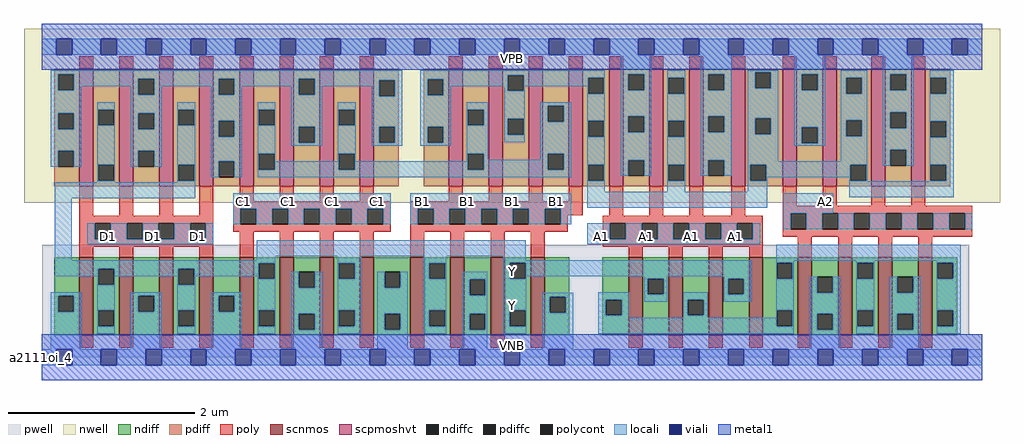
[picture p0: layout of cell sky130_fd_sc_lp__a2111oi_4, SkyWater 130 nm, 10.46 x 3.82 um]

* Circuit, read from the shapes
.subckt sky130_fd_sc_lp__a2111oi_4 A1 A2 B1 C1 D1 VGND VNB VPB VPWR Y
XM1 Y D1 VGND VNB sky130_fd_pr__nfet_01v8 w=0.84 l=0.15 m=4
XM2 Y C1 VGND VNB sky130_fd_pr__nfet_01v8 w=0.84 l=0.15 m=4
XM3 Y B1 VGND VNB sky130_fd_pr__nfet_01v8 w=0.84 l=0.15 m=4
XM4 Y A1 n1 VNB sky130_fd_pr__nfet_01v8 w=0.84 l=0.15 m=4
XM5 VGND A2 n1 VNB sky130_fd_pr__nfet_01v8 w=0.84 l=0.15 m=4
XM6 Y D1 n2 VPB sky130_fd_pr__pfet_01v8_hvt w=1.26 l=0.15 m=4
XM7 n3 C1 n2 VPB sky130_fd_pr__pfet_01v8_hvt w=1.26 l=0.15 m=4
XM8 n3 B1 n4 VPB sky130_fd_pr__pfet_01v8_hvt w=1.26 l=0.15 m=4
XM9 VPWR A1 n4 VPB sky130_fd_pr__pfet_01v8_hvt w=1.26 l=0.15 m=4
XM10 VPWR A2 n4 VPB sky130_fd_pr__pfet_01v8_hvt w=1.26 l=0.15 m=4
.ends

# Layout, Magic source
magic
tech sky130A
magscale 1 2
<< nwell >>
rect -38 331 2054 704
<< pwell >>
rect 1 49 1988 241
rect 0 0 2016 49
<< scnmos >>
rect 80 47 110 215
rect 166 47 196 215
rect 252 47 282 215
rect 338 47 368 215
rect 424 47 454 215
rect 510 47 540 215
rect 596 47 626 215
rect 682 47 712 215
rect 790 47 820 215
rect 876 47 906 215
rect 962 47 992 215
rect 1048 47 1078 215
rect 1258 47 1288 215
rect 1344 47 1374 215
rect 1430 47 1460 215
rect 1516 47 1546 215
rect 1621 47 1651 215
rect 1707 47 1737 215
rect 1793 47 1823 215
rect 1879 47 1909 215
<< scpmoshvt >>
rect 80 367 110 619
rect 166 367 196 619
rect 252 367 282 619
rect 338 367 368 619
rect 424 367 454 619
rect 510 367 540 619
rect 596 367 626 619
rect 682 367 712 619
rect 872 367 902 619
rect 958 367 988 619
rect 1044 367 1074 619
rect 1130 367 1160 619
rect 1216 367 1246 619
rect 1302 367 1332 619
rect 1388 367 1418 619
rect 1478 367 1508 619
rect 1588 367 1618 619
rect 1674 367 1704 619
rect 1778 367 1808 619
rect 1864 367 1894 619
<< ndiff >>
rect 27 132 80 215
rect 27 98 35 132
rect 69 98 80 132
rect 27 47 80 98
rect 110 190 166 215
rect 110 156 121 190
rect 155 156 166 190
rect 110 101 166 156
rect 110 67 121 101
rect 155 67 166 101
rect 110 47 166 67
rect 196 132 252 215
rect 196 98 207 132
rect 241 98 252 132
rect 196 47 252 98
rect 282 190 338 215
rect 282 156 293 190
rect 327 156 338 190
rect 282 101 338 156
rect 282 67 293 101
rect 327 67 338 101
rect 282 47 338 67
rect 368 132 424 215
rect 368 98 379 132
rect 413 98 424 132
rect 368 47 424 98
rect 454 202 510 215
rect 454 168 465 202
rect 499 168 510 202
rect 454 101 510 168
rect 454 67 465 101
rect 499 67 510 101
rect 454 47 510 67
rect 540 183 596 215
rect 540 149 551 183
rect 585 149 596 183
rect 540 93 596 149
rect 540 59 551 93
rect 585 59 596 93
rect 540 47 596 59
rect 626 202 682 215
rect 626 168 637 202
rect 671 168 682 202
rect 626 101 682 168
rect 626 67 637 101
rect 671 67 682 101
rect 626 47 682 67
rect 712 183 790 215
rect 712 149 735 183
rect 769 149 790 183
rect 712 93 790 149
rect 712 59 735 93
rect 769 59 790 93
rect 712 47 790 59
rect 820 202 876 215
rect 820 168 831 202
rect 865 168 876 202
rect 820 101 876 168
rect 820 67 831 101
rect 865 67 876 101
rect 820 47 876 67
rect 906 167 962 215
rect 906 133 917 167
rect 951 133 962 167
rect 906 93 962 133
rect 906 59 917 93
rect 951 59 962 93
rect 906 47 962 59
rect 992 203 1048 215
rect 992 169 1003 203
rect 1037 169 1048 203
rect 992 101 1048 169
rect 992 67 1003 101
rect 1037 67 1048 101
rect 992 47 1048 67
rect 1078 130 1131 215
rect 1078 96 1089 130
rect 1123 96 1131 130
rect 1078 47 1131 96
rect 1201 124 1258 215
rect 1201 90 1209 124
rect 1243 90 1258 124
rect 1201 47 1258 90
rect 1288 169 1344 215
rect 1288 135 1299 169
rect 1333 135 1344 169
rect 1288 47 1344 135
rect 1374 124 1430 215
rect 1374 90 1385 124
rect 1419 90 1430 124
rect 1374 47 1430 90
rect 1460 169 1516 215
rect 1460 135 1471 169
rect 1505 135 1516 169
rect 1460 47 1516 135
rect 1546 203 1621 215
rect 1546 169 1575 203
rect 1609 169 1621 203
rect 1546 101 1621 169
rect 1546 67 1575 101
rect 1609 67 1621 101
rect 1546 47 1621 67
rect 1651 173 1707 215
rect 1651 139 1662 173
rect 1696 139 1707 173
rect 1651 93 1707 139
rect 1651 59 1662 93
rect 1696 59 1707 93
rect 1651 47 1707 59
rect 1737 203 1793 215
rect 1737 169 1748 203
rect 1782 169 1793 203
rect 1737 101 1793 169
rect 1737 67 1748 101
rect 1782 67 1793 101
rect 1737 47 1793 67
rect 1823 173 1879 215
rect 1823 139 1834 173
rect 1868 139 1879 173
rect 1823 93 1879 139
rect 1823 59 1834 93
rect 1868 59 1879 93
rect 1823 47 1879 59
rect 1909 203 1962 215
rect 1909 169 1920 203
rect 1954 169 1962 203
rect 1909 101 1962 169
rect 1909 67 1920 101
rect 1954 67 1962 101
rect 1909 47 1962 67
<< pdiff >>
rect 27 607 80 619
rect 27 573 35 607
rect 69 573 80 607
rect 27 523 80 573
rect 27 489 35 523
rect 69 489 80 523
rect 27 443 80 489
rect 27 409 35 443
rect 69 409 80 443
rect 27 367 80 409
rect 110 531 166 619
rect 110 497 121 531
rect 155 497 166 531
rect 110 413 166 497
rect 110 379 121 413
rect 155 379 166 413
rect 110 367 166 379
rect 196 597 252 619
rect 196 563 207 597
rect 241 563 252 597
rect 196 523 252 563
rect 196 489 207 523
rect 241 489 252 523
rect 196 443 252 489
rect 196 409 207 443
rect 241 409 252 443
rect 196 367 252 409
rect 282 531 338 619
rect 282 497 293 531
rect 327 497 338 531
rect 282 413 338 497
rect 282 379 293 413
rect 327 379 338 413
rect 282 367 338 379
rect 368 597 424 619
rect 368 563 379 597
rect 413 563 424 597
rect 368 507 424 563
rect 368 473 379 507
rect 413 473 424 507
rect 368 420 424 473
rect 368 386 379 420
rect 413 386 424 420
rect 368 367 424 386
rect 454 531 510 619
rect 454 497 465 531
rect 499 497 510 531
rect 454 436 510 497
rect 454 402 465 436
rect 499 402 510 436
rect 454 367 510 402
rect 540 597 596 619
rect 540 563 551 597
rect 585 563 596 597
rect 540 494 596 563
rect 540 460 551 494
rect 585 460 596 494
rect 540 367 596 460
rect 626 531 682 619
rect 626 497 637 531
rect 671 497 682 531
rect 626 436 682 497
rect 626 402 637 436
rect 671 402 682 436
rect 626 367 682 402
rect 712 594 765 619
rect 712 560 723 594
rect 757 560 765 594
rect 712 494 765 560
rect 712 460 723 494
rect 757 460 765 494
rect 712 367 765 460
rect 819 596 872 619
rect 819 562 827 596
rect 861 562 872 596
rect 819 494 872 562
rect 819 460 827 494
rect 861 460 872 494
rect 819 367 872 460
rect 902 531 958 619
rect 902 497 913 531
rect 947 497 958 531
rect 902 436 958 497
rect 902 402 913 436
rect 947 402 958 436
rect 902 367 958 402
rect 988 605 1044 619
rect 988 571 999 605
rect 1033 571 1044 605
rect 988 511 1044 571
rect 988 477 999 511
rect 1033 477 1044 511
rect 988 367 1044 477
rect 1074 539 1130 619
rect 1074 505 1085 539
rect 1119 505 1130 539
rect 1074 436 1130 505
rect 1074 402 1085 436
rect 1119 402 1130 436
rect 1074 367 1130 402
rect 1160 599 1216 619
rect 1160 565 1171 599
rect 1205 565 1216 599
rect 1160 507 1216 565
rect 1160 473 1171 507
rect 1205 473 1216 507
rect 1160 413 1216 473
rect 1160 379 1171 413
rect 1205 379 1216 413
rect 1160 367 1216 379
rect 1246 607 1302 619
rect 1246 573 1257 607
rect 1291 573 1302 607
rect 1246 517 1302 573
rect 1246 483 1257 517
rect 1291 483 1302 517
rect 1246 423 1302 483
rect 1246 389 1257 423
rect 1291 389 1302 423
rect 1246 367 1302 389
rect 1332 599 1388 619
rect 1332 565 1343 599
rect 1377 565 1388 599
rect 1332 507 1388 565
rect 1332 473 1343 507
rect 1377 473 1388 507
rect 1332 413 1388 473
rect 1332 379 1343 413
rect 1377 379 1388 413
rect 1332 367 1388 379
rect 1418 607 1478 619
rect 1418 573 1429 607
rect 1463 573 1478 607
rect 1418 517 1478 573
rect 1418 483 1429 517
rect 1463 483 1478 517
rect 1418 423 1478 483
rect 1418 389 1429 423
rect 1463 389 1478 423
rect 1418 367 1478 389
rect 1508 611 1588 619
rect 1508 577 1529 611
rect 1563 577 1588 611
rect 1508 512 1588 577
rect 1508 478 1529 512
rect 1563 478 1588 512
rect 1508 413 1588 478
rect 1508 379 1519 413
rect 1553 379 1588 413
rect 1508 367 1588 379
rect 1618 607 1674 619
rect 1618 573 1629 607
rect 1663 573 1674 607
rect 1618 493 1674 573
rect 1618 459 1629 493
rect 1663 459 1674 493
rect 1618 367 1674 459
rect 1704 599 1778 619
rect 1704 565 1724 599
rect 1758 565 1778 599
rect 1704 508 1778 565
rect 1704 474 1724 508
rect 1758 474 1778 508
rect 1704 413 1778 474
rect 1704 379 1733 413
rect 1767 379 1778 413
rect 1704 367 1778 379
rect 1808 607 1864 619
rect 1808 573 1819 607
rect 1853 573 1864 607
rect 1808 525 1864 573
rect 1808 491 1819 525
rect 1853 491 1864 525
rect 1808 445 1864 491
rect 1808 411 1819 445
rect 1853 411 1864 445
rect 1808 367 1864 411
rect 1894 599 1947 619
rect 1894 565 1905 599
rect 1939 565 1947 599
rect 1894 506 1947 565
rect 1894 472 1905 506
rect 1939 472 1947 506
rect 1894 413 1947 472
rect 1894 379 1905 413
rect 1939 379 1947 413
rect 1894 367 1947 379
<< ndiffc >>
rect 35 98 69 132
rect 121 156 155 190
rect 121 67 155 101
rect 207 98 241 132
rect 293 156 327 190
rect 293 67 327 101
rect 379 98 413 132
rect 465 168 499 202
rect 465 67 499 101
rect 551 149 585 183
rect 551 59 585 93
rect 637 168 671 202
rect 637 67 671 101
rect 735 149 769 183
rect 735 59 769 93
rect 831 168 865 202
rect 831 67 865 101
rect 917 133 951 167
rect 917 59 951 93
rect 1003 169 1037 203
rect 1003 67 1037 101
rect 1089 96 1123 130
rect 1209 90 1243 124
rect 1299 135 1333 169
rect 1385 90 1419 124
rect 1471 135 1505 169
rect 1575 169 1609 203
rect 1575 67 1609 101
rect 1662 139 1696 173
rect 1662 59 1696 93
rect 1748 169 1782 203
rect 1748 67 1782 101
rect 1834 139 1868 173
rect 1834 59 1868 93
rect 1920 169 1954 203
rect 1920 67 1954 101
<< pdiffc >>
rect 35 573 69 607
rect 35 489 69 523
rect 35 409 69 443
rect 121 497 155 531
rect 121 379 155 413
rect 207 563 241 597
rect 207 489 241 523
rect 207 409 241 443
rect 293 497 327 531
rect 293 379 327 413
rect 379 563 413 597
rect 379 473 413 507
rect 379 386 413 420
rect 465 497 499 531
rect 465 402 499 436
rect 551 563 585 597
rect 551 460 585 494
rect 637 497 671 531
rect 637 402 671 436
rect 723 560 757 594
rect 723 460 757 494
rect 827 562 861 596
rect 827 460 861 494
rect 913 497 947 531
rect 913 402 947 436
rect 999 571 1033 605
rect 999 477 1033 511
rect 1085 505 1119 539
rect 1085 402 1119 436
rect 1171 565 1205 599
rect 1171 473 1205 507
rect 1171 379 1205 413
rect 1257 573 1291 607
rect 1257 483 1291 517
rect 1257 389 1291 423
rect 1343 565 1377 599
rect 1343 473 1377 507
rect 1343 379 1377 413
rect 1429 573 1463 607
rect 1429 483 1463 517
rect 1429 389 1463 423
rect 1529 577 1563 611
rect 1529 478 1563 512
rect 1519 379 1553 413
rect 1629 573 1663 607
rect 1629 459 1663 493
rect 1724 565 1758 599
rect 1724 474 1758 508
rect 1733 379 1767 413
rect 1819 573 1853 607
rect 1819 491 1853 525
rect 1819 411 1853 445
rect 1905 565 1939 599
rect 1905 472 1939 506
rect 1905 379 1939 413
<< poly >>
rect 80 619 110 645
rect 166 619 196 645
rect 252 619 282 645
rect 338 619 368 645
rect 424 619 454 645
rect 510 619 540 645
rect 596 619 626 645
rect 682 619 712 645
rect 872 619 902 645
rect 958 619 988 645
rect 1044 619 1074 645
rect 1130 619 1160 645
rect 1216 619 1246 645
rect 1302 619 1332 645
rect 1388 619 1418 645
rect 1478 619 1508 645
rect 1588 619 1618 645
rect 1674 619 1704 645
rect 1778 619 1808 645
rect 1864 619 1894 645
rect 80 303 110 367
rect 166 303 196 367
rect 252 303 282 367
rect 338 303 368 367
rect 424 335 454 367
rect 510 335 540 367
rect 596 335 626 367
rect 682 335 712 367
rect 872 335 902 367
rect 958 335 988 367
rect 1044 335 1074 367
rect 1130 335 1160 367
rect 80 287 368 303
rect 80 253 114 287
rect 148 253 182 287
rect 216 253 250 287
rect 284 253 318 287
rect 352 253 368 287
rect 410 319 748 335
rect 410 285 426 319
rect 460 285 494 319
rect 528 285 562 319
rect 596 285 630 319
rect 664 285 698 319
rect 732 285 748 319
rect 410 269 748 285
rect 790 319 1160 335
rect 790 285 806 319
rect 840 285 874 319
rect 908 285 942 319
rect 976 285 1010 319
rect 1044 285 1078 319
rect 1112 305 1160 319
rect 1112 285 1128 305
rect 1216 303 1246 367
rect 1302 303 1332 367
rect 1388 303 1418 367
rect 1478 303 1508 367
rect 1588 325 1618 367
rect 1674 325 1704 367
rect 1778 325 1808 367
rect 1864 325 1894 367
rect 1588 309 1995 325
rect 790 269 1128 285
rect 1202 287 1546 303
rect 80 237 368 253
rect 80 215 110 237
rect 166 215 196 237
rect 252 215 282 237
rect 338 215 368 237
rect 424 215 454 269
rect 510 215 540 269
rect 596 215 626 269
rect 682 215 712 269
rect 790 215 820 269
rect 876 215 906 269
rect 962 215 992 269
rect 1048 215 1078 269
rect 1202 253 1218 287
rect 1252 253 1286 287
rect 1320 253 1354 287
rect 1388 253 1422 287
rect 1456 253 1490 287
rect 1524 253 1546 287
rect 1588 275 1605 309
rect 1639 275 1673 309
rect 1707 275 1741 309
rect 1775 275 1809 309
rect 1843 275 1877 309
rect 1911 275 1945 309
rect 1979 275 1995 309
rect 1588 259 1995 275
rect 1202 237 1546 253
rect 1258 215 1288 237
rect 1344 215 1374 237
rect 1430 215 1460 237
rect 1516 215 1546 237
rect 1621 215 1651 259
rect 1707 215 1737 259
rect 1793 215 1823 259
rect 1879 215 1909 259
rect 80 21 110 47
rect 166 21 196 47
rect 252 21 282 47
rect 338 21 368 47
rect 424 21 454 47
rect 510 21 540 47
rect 596 21 626 47
rect 682 21 712 47
rect 790 21 820 47
rect 876 21 906 47
rect 962 21 992 47
rect 1048 21 1078 47
rect 1258 21 1288 47
rect 1344 21 1374 47
rect 1430 21 1460 47
rect 1516 21 1546 47
rect 1621 21 1651 47
rect 1707 21 1737 47
rect 1793 21 1823 47
rect 1879 21 1909 47
<< polycont >>
rect 114 253 148 287
rect 182 253 216 287
rect 250 253 284 287
rect 318 253 352 287
rect 426 285 460 319
rect 494 285 528 319
rect 562 285 596 319
rect 630 285 664 319
rect 698 285 732 319
rect 806 285 840 319
rect 874 285 908 319
rect 942 285 976 319
rect 1010 285 1044 319
rect 1078 285 1112 319
rect 1218 253 1252 287
rect 1286 253 1320 287
rect 1354 253 1388 287
rect 1422 253 1456 287
rect 1490 253 1524 287
rect 1605 275 1639 309
rect 1673 275 1707 309
rect 1741 275 1775 309
rect 1809 275 1843 309
rect 1877 275 1911 309
rect 1945 275 1979 309
<< locali >>
rect 0 649 31 683
rect 65 649 127 683
rect 161 649 223 683
rect 257 649 319 683
rect 353 649 415 683
rect 449 649 511 683
rect 545 649 607 683
rect 641 649 703 683
rect 737 649 799 683
rect 833 649 895 683
rect 929 649 991 683
rect 1025 649 1087 683
rect 1121 649 1183 683
rect 1217 649 1279 683
rect 1313 649 1375 683
rect 1409 649 1471 683
rect 1505 649 1567 683
rect 1601 649 1663 683
rect 1697 649 1759 683
rect 1793 649 1855 683
rect 1889 649 1951 683
rect 1985 649 2016 683
rect 19 607 773 615
rect 19 573 35 607
rect 69 597 773 607
rect 69 581 207 597
rect 69 573 85 581
rect 19 523 85 573
rect 191 563 207 581
rect 241 581 379 597
rect 241 563 257 581
rect 19 489 35 523
rect 69 489 85 523
rect 19 443 85 489
rect 19 409 35 443
rect 69 409 85 443
rect 119 531 157 547
rect 119 497 121 531
rect 155 497 157 531
rect 119 413 157 497
rect 119 379 121 413
rect 155 379 157 413
rect 191 523 257 563
rect 363 563 379 581
rect 413 581 551 597
rect 413 563 429 581
rect 191 489 207 523
rect 241 489 257 523
rect 191 443 257 489
rect 191 409 207 443
rect 241 409 257 443
rect 291 531 329 547
rect 291 497 293 531
rect 327 497 329 531
rect 291 413 329 497
rect 119 375 157 379
rect 291 379 293 413
rect 327 379 329 413
rect 363 507 429 563
rect 535 563 551 581
rect 585 594 773 597
rect 585 581 723 594
rect 585 563 601 581
rect 363 473 379 507
rect 413 473 429 507
rect 363 420 429 473
rect 363 386 379 420
rect 413 386 429 420
rect 463 531 501 547
rect 463 497 465 531
rect 499 497 501 531
rect 463 436 501 497
rect 535 494 601 563
rect 707 560 723 581
rect 757 560 773 594
rect 535 460 551 494
rect 585 460 601 494
rect 535 454 601 460
rect 635 531 673 547
rect 635 497 637 531
rect 671 497 673 531
rect 463 402 465 436
rect 499 420 501 436
rect 635 436 673 497
rect 707 494 773 560
rect 707 460 723 494
rect 757 460 773 494
rect 707 454 773 460
rect 811 605 1207 615
rect 811 596 999 605
rect 811 562 827 596
rect 861 581 999 596
rect 861 562 877 581
rect 811 494 877 562
rect 991 571 999 581
rect 1033 599 1207 605
rect 1033 581 1171 599
rect 1033 571 1035 581
rect 811 460 827 494
rect 861 460 877 494
rect 811 454 877 460
rect 911 531 957 547
rect 911 497 913 531
rect 947 497 957 531
rect 635 420 637 436
rect 499 402 637 420
rect 671 420 673 436
rect 911 436 957 497
rect 991 511 1035 571
rect 1169 565 1171 581
rect 1205 565 1207 599
rect 991 477 999 511
rect 1033 477 1035 511
rect 991 461 1035 477
rect 1069 539 1135 547
rect 1069 505 1085 539
rect 1119 505 1135 539
rect 911 420 913 436
rect 671 402 913 420
rect 947 424 957 436
rect 1069 436 1135 505
rect 1069 424 1085 436
rect 947 402 1085 424
rect 1119 402 1135 436
rect 463 386 1135 402
rect 1169 507 1207 565
rect 1169 473 1171 507
rect 1205 473 1207 507
rect 1169 413 1207 473
rect 291 375 329 379
rect 28 341 329 375
rect 1169 379 1171 413
rect 1205 379 1207 413
rect 1241 607 1307 649
rect 1241 573 1257 607
rect 1291 573 1307 607
rect 1241 517 1307 573
rect 1241 483 1257 517
rect 1291 483 1307 517
rect 1241 423 1307 483
rect 1241 389 1257 423
rect 1291 389 1307 423
rect 1341 599 1379 615
rect 1341 565 1343 599
rect 1377 565 1379 599
rect 1341 507 1379 565
rect 1341 473 1343 507
rect 1377 473 1379 507
rect 1341 413 1379 473
rect 1169 355 1207 379
rect 1341 379 1343 413
rect 1377 379 1379 413
rect 1413 607 1479 649
rect 1413 573 1429 607
rect 1463 573 1479 607
rect 1413 517 1479 573
rect 1413 483 1429 517
rect 1463 483 1479 517
rect 1413 423 1479 483
rect 1413 389 1429 423
rect 1463 389 1479 423
rect 1513 611 1579 615
rect 1513 577 1529 611
rect 1563 577 1579 611
rect 1513 512 1579 577
rect 1513 478 1529 512
rect 1563 478 1579 512
rect 1513 420 1579 478
rect 1613 607 1679 649
rect 1613 573 1629 607
rect 1663 573 1679 607
rect 1613 493 1679 573
rect 1613 459 1629 493
rect 1663 459 1679 493
rect 1613 454 1679 459
rect 1713 599 1769 615
rect 1713 565 1724 599
rect 1758 565 1769 599
rect 1713 508 1769 565
rect 1713 474 1724 508
rect 1758 474 1769 508
rect 1713 420 1769 474
rect 1513 413 1769 420
rect 1341 355 1379 379
rect 1513 379 1519 413
rect 1553 386 1733 413
rect 1553 379 1555 386
rect 1513 355 1555 379
rect 28 208 64 341
rect 410 319 748 352
rect 98 253 114 287
rect 148 253 182 287
rect 216 253 250 287
rect 284 253 318 287
rect 352 253 368 287
rect 410 285 426 319
rect 460 285 494 319
rect 528 285 562 319
rect 596 285 630 319
rect 664 285 698 319
rect 732 285 748 319
rect 790 319 1135 352
rect 1169 321 1555 355
rect 1731 379 1733 386
rect 1767 379 1769 413
rect 1803 607 1869 649
rect 1803 573 1819 607
rect 1853 573 1869 607
rect 1803 525 1869 573
rect 1803 491 1819 525
rect 1853 491 1869 525
rect 1803 445 1869 491
rect 1803 411 1819 445
rect 1853 411 1869 445
rect 1903 599 1955 615
rect 1903 565 1905 599
rect 1939 565 1955 599
rect 1903 506 1955 565
rect 1903 472 1905 506
rect 1939 472 1955 506
rect 1903 413 1955 472
rect 1731 377 1769 379
rect 1903 379 1905 413
rect 1939 379 1955 413
rect 1903 377 1955 379
rect 790 285 806 319
rect 840 285 874 319
rect 908 285 942 319
rect 976 285 1010 319
rect 1044 285 1078 319
rect 1112 285 1135 319
rect 1589 309 1697 352
rect 1731 343 1955 377
rect 98 242 368 253
rect 1169 253 1218 287
rect 1252 253 1286 287
rect 1320 253 1354 287
rect 1388 253 1422 287
rect 1456 253 1490 287
rect 1524 253 1540 287
rect 1589 275 1605 309
rect 1639 275 1673 309
rect 1707 275 1741 309
rect 1775 275 1809 309
rect 1843 275 1877 309
rect 1911 275 1945 309
rect 1979 275 1995 309
rect 461 217 1037 251
rect 1169 242 1540 253
rect 461 208 501 217
rect 28 202 501 208
rect 28 190 465 202
rect 28 174 121 190
rect 119 156 121 174
rect 155 174 293 190
rect 155 156 157 174
rect 19 132 85 140
rect 19 98 35 132
rect 69 98 85 132
rect 19 17 85 98
rect 119 101 157 156
rect 291 156 293 174
rect 327 174 465 190
rect 327 156 329 174
rect 119 67 121 101
rect 155 67 157 101
rect 119 51 157 67
rect 191 132 257 140
rect 191 98 207 132
rect 241 98 257 132
rect 191 17 257 98
rect 291 101 329 156
rect 463 168 465 174
rect 499 168 501 202
rect 635 202 685 217
rect 291 67 293 101
rect 327 67 329 101
rect 291 51 329 67
rect 363 132 429 140
rect 363 98 379 132
rect 413 98 429 132
rect 363 17 429 98
rect 463 101 501 168
rect 463 67 465 101
rect 499 67 501 101
rect 463 51 501 67
rect 535 149 551 183
rect 585 149 601 183
rect 535 93 601 149
rect 535 59 551 93
rect 585 59 601 93
rect 535 17 601 59
rect 635 168 637 202
rect 671 168 685 202
rect 819 202 867 217
rect 635 101 685 168
rect 635 67 637 101
rect 671 67 685 101
rect 635 51 685 67
rect 719 149 735 183
rect 769 149 785 183
rect 719 93 785 149
rect 719 59 735 93
rect 769 59 785 93
rect 719 17 785 59
rect 819 168 831 202
rect 865 168 867 202
rect 989 208 1037 217
rect 989 203 1521 208
rect 819 101 867 168
rect 819 67 831 101
rect 865 67 867 101
rect 819 51 867 67
rect 901 167 955 183
rect 901 133 917 167
rect 951 133 955 167
rect 901 93 955 133
rect 901 59 917 93
rect 951 59 955 93
rect 901 17 955 59
rect 989 169 1003 203
rect 1037 174 1521 203
rect 1037 169 1039 174
rect 989 101 1039 169
rect 1292 169 1341 174
rect 989 67 1003 101
rect 1037 67 1039 101
rect 989 51 1039 67
rect 1073 130 1139 138
rect 1073 96 1089 130
rect 1123 96 1139 130
rect 1073 17 1139 96
rect 1193 124 1258 140
rect 1193 90 1209 124
rect 1243 90 1258 124
rect 1292 135 1299 169
rect 1333 135 1341 169
rect 1462 169 1521 174
rect 1292 119 1341 135
rect 1375 124 1428 140
rect 1193 85 1258 90
rect 1375 90 1385 124
rect 1419 90 1428 124
rect 1462 135 1471 169
rect 1505 135 1521 169
rect 1462 119 1521 135
rect 1574 207 1970 241
rect 1574 203 1612 207
rect 1574 169 1575 203
rect 1609 169 1612 203
rect 1746 203 1784 207
rect 1375 85 1428 90
rect 1574 101 1612 169
rect 1574 85 1575 101
rect 1193 67 1575 85
rect 1609 67 1612 101
rect 1193 51 1612 67
rect 1646 139 1662 173
rect 1696 139 1712 173
rect 1646 93 1712 139
rect 1646 59 1662 93
rect 1696 59 1712 93
rect 1646 17 1712 59
rect 1746 169 1748 203
rect 1782 169 1784 203
rect 1918 203 1970 207
rect 1746 101 1784 169
rect 1746 67 1748 101
rect 1782 67 1784 101
rect 1746 51 1784 67
rect 1818 139 1834 173
rect 1868 139 1884 173
rect 1818 93 1884 139
rect 1818 59 1834 93
rect 1868 59 1884 93
rect 1818 17 1884 59
rect 1918 169 1920 203
rect 1954 169 1970 203
rect 1918 101 1970 169
rect 1918 67 1920 101
rect 1954 67 1970 101
rect 1918 51 1970 67
rect 0 -17 31 17
rect 65 -17 127 17
rect 161 -17 223 17
rect 257 -17 319 17
rect 353 -17 415 17
rect 449 -17 511 17
rect 545 -17 607 17
rect 641 -17 703 17
rect 737 -17 799 17
rect 833 -17 895 17
rect 929 -17 991 17
rect 1025 -17 1087 17
rect 1121 -17 1183 17
rect 1217 -17 1279 17
rect 1313 -17 1375 17
rect 1409 -17 1471 17
rect 1505 -17 1567 17
rect 1601 -17 1663 17
rect 1697 -17 1759 17
rect 1793 -17 1855 17
rect 1889 -17 1951 17
rect 1985 -17 2016 17
<< viali >>
rect 31 649 65 683
rect 127 649 161 683
rect 223 649 257 683
rect 319 649 353 683
rect 415 649 449 683
rect 511 649 545 683
rect 607 649 641 683
rect 703 649 737 683
rect 799 649 833 683
rect 895 649 929 683
rect 991 649 1025 683
rect 1087 649 1121 683
rect 1183 649 1217 683
rect 1279 649 1313 683
rect 1375 649 1409 683
rect 1471 649 1505 683
rect 1567 649 1601 683
rect 1663 649 1697 683
rect 1759 649 1793 683
rect 1855 649 1889 683
rect 1951 649 1985 683
rect 31 -17 65 17
rect 127 -17 161 17
rect 223 -17 257 17
rect 319 -17 353 17
rect 415 -17 449 17
rect 511 -17 545 17
rect 607 -17 641 17
rect 703 -17 737 17
rect 799 -17 833 17
rect 895 -17 929 17
rect 991 -17 1025 17
rect 1087 -17 1121 17
rect 1183 -17 1217 17
rect 1279 -17 1313 17
rect 1375 -17 1409 17
rect 1471 -17 1505 17
rect 1567 -17 1601 17
rect 1663 -17 1697 17
rect 1759 -17 1793 17
rect 1855 -17 1889 17
rect 1951 -17 1985 17
<< metal1 >>
rect 0 683 2016 715
rect 0 649 31 683
rect 65 649 127 683
rect 161 649 223 683
rect 257 649 319 683
rect 353 649 415 683
rect 449 649 511 683
rect 545 649 607 683
rect 641 649 703 683
rect 737 649 799 683
rect 833 649 895 683
rect 929 649 991 683
rect 1025 649 1087 683
rect 1121 649 1183 683
rect 1217 649 1279 683
rect 1313 649 1375 683
rect 1409 649 1471 683
rect 1505 649 1567 683
rect 1601 649 1663 683
rect 1697 649 1759 683
rect 1793 649 1855 683
rect 1889 649 1951 683
rect 1985 649 2016 683
rect 0 617 2016 649
rect 0 17 2016 49
rect 0 -17 31 17
rect 65 -17 127 17
rect 161 -17 223 17
rect 257 -17 319 17
rect 353 -17 415 17
rect 449 -17 511 17
rect 545 -17 607 17
rect 641 -17 703 17
rect 737 -17 799 17
rect 833 -17 895 17
rect 929 -17 991 17
rect 1025 -17 1087 17
rect 1121 -17 1183 17
rect 1217 -17 1279 17
rect 1313 -17 1375 17
rect 1409 -17 1471 17
rect 1505 -17 1567 17
rect 1601 -17 1663 17
rect 1697 -17 1759 17
rect 1793 -17 1855 17
rect 1889 -17 1951 17
rect 1985 -17 2016 17
rect 0 -49 2016 -17
<< labels >>
flabel pwell s 0 0 2016 49 0 FreeSans 200 0 0 0 VNB
port 7 nsew ground bidirectional
flabel nwell s 0 617 2016 666 0 FreeSans 200 0 0 0 VPB
port 8 nsew power bidirectional
rlabel comment s 0 0 0 0 4 a2111oi_4
flabel metal1 s 0 617 2016 666 0 FreeSans 340 0 0 0 VPWR
port 9 nsew power bidirectional
flabel metal1 s 0 0 2016 49 0 FreeSans 340 0 0 0 VGND
port 6 nsew ground bidirectional
flabel locali s 991 94 1025 128 0 FreeSans 340 0 0 0 Y
port 10 nsew signal output
flabel locali s 991 168 1025 202 0 FreeSans 340 0 0 0 Y
port 10 nsew signal output
flabel locali s 1183 242 1217 276 0 FreeSans 340 0 0 0 A1
port 1 nsew signal input
flabel locali s 1279 242 1313 276 0 FreeSans 340 0 0 0 A1
port 1 nsew signal input
flabel locali s 1375 242 1409 276 0 FreeSans 340 0 0 0 A1
port 1 nsew signal input
flabel locali s 1471 242 1505 276 0 FreeSans 340 0 0 0 A1
port 1 nsew signal input
flabel locali s 1663 316 1697 350 0 FreeSans 340 0 0 0 A2
port 2 nsew signal input
flabel locali s 799 316 833 350 0 FreeSans 340 0 0 0 B1
port 3 nsew signal input
flabel locali s 895 316 929 350 0 FreeSans 340 0 0 0 B1
port 3 nsew signal input
flabel locali s 991 316 1025 350 0 FreeSans 340 0 0 0 B1
port 3 nsew signal input
flabel locali s 1087 316 1121 350 0 FreeSans 340 0 0 0 B1
port 3 nsew signal input
flabel locali s 415 316 449 350 0 FreeSans 340 0 0 0 C1
port 4 nsew signal input
flabel locali s 511 316 545 350 0 FreeSans 340 0 0 0 C1
port 4 nsew signal input
flabel locali s 607 316 641 350 0 FreeSans 340 0 0 0 C1
port 4 nsew signal input
flabel locali s 703 316 737 350 0 FreeSans 340 0 0 0 C1
port 4 nsew signal input
flabel locali s 127 242 161 276 0 FreeSans 340 0 0 0 D1
port 5 nsew signal input
flabel locali s 223 242 257 276 0 FreeSans 340 0 0 0 D1
port 5 nsew signal input
flabel locali s 319 242 353 276 0 FreeSans 340 0 0 0 D1
port 5 nsew signal input
<< properties >>
string LEFsite unit
string LEFclass CORE
string FIXED_BBOX 0 0 2016 666
string GDS_FILE $PDKPATH/libs.ref/sky130_fd_sc_lp/gds/sky130_fd_sc_lp.gds
string LEFsymmetry X Y R90
string GDS_END 4842404
string GDS_START 4824888
<< end >>
